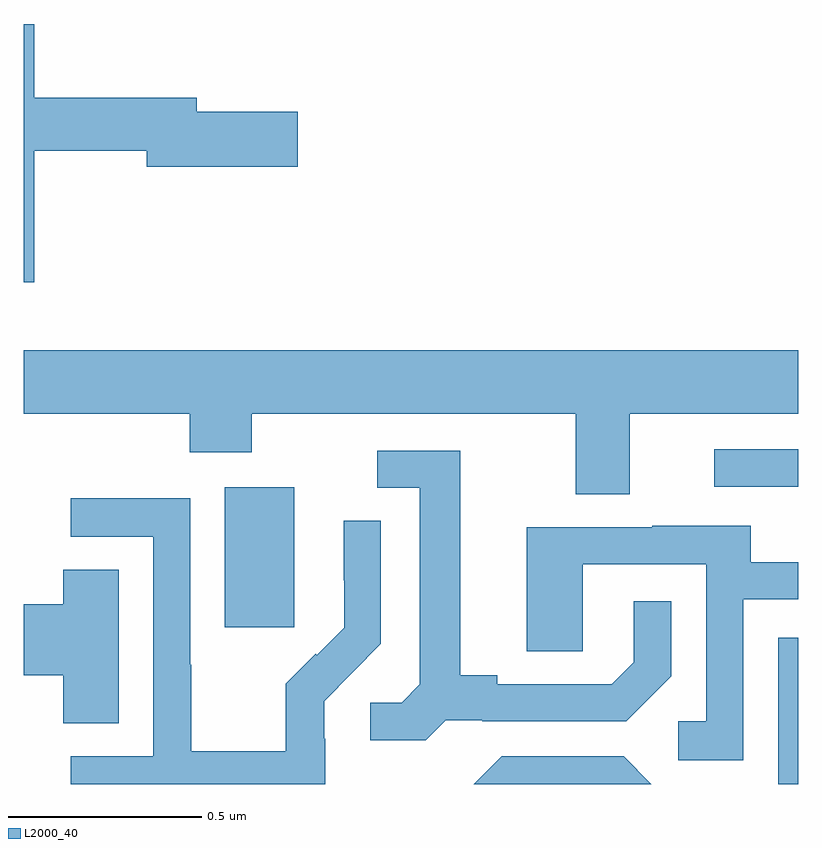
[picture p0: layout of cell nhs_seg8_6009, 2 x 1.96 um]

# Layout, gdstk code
import gdstk
lib = gdstk.Library(unit=1e-6, precision=1e-09)
def R(c, l, rs):  # rectangles x0, y0, x1, y1
    for r in rs: c.add(gdstk.rectangle(r[:2], r[2:], *l))
def P(c, l, *ps):  # polygons
    for p in ps: c.add(gdstk.Polygon(p, *l))
L2000_40 = (2000, 40)

nhs_seg8_6009 = lib.new_cell('nhs_seg8_6009')
R(nhs_seg8_6009, L2000_40, [(192.948,1092.9,193,1093.278), (191.519,1093.305,191.698,1093.666), (192.783,1093.668,193,1093.764)])
P(nhs_seg8_6009, L2000_40, [(191.027,1094.536),(191.318,1094.536),(191.318,1094.494),(191.707,1094.494),(191.707,1094.636),(191.446,1094.636),(191.446,1094.672),(191.027,1094.672),(191.027,1094.863),(191,1094.863),(191,1094.196),(191.027,1094.196)],
  [(192.565,1093.856),(193,1093.856),(193,1094.02),(191,1094.02),(191,1093.856),(191.429,1093.856),(191.429,1093.757),(191.589,1093.757),(191.589,1093.856),(192.425,1093.856),(192.425,1093.648),(192.565,1093.648)],
  [(192.09,1093.065),(192.184,1093.065),(192.184,1093.062),(192.556,1093.062),(192.672,1093.178),(192.672,1093.372),(192.575,1093.372),(192.575,1093.215),(192.518,1093.158),(192.223,1093.158),(192.223,1093.181),(192.127,1093.181),(192.127,1093.761),(191.913,1093.761),(191.913,1093.665),(192.023,1093.665),(192.023,1093.157),(191.976,1093.11),(191.895,1093.11),(191.895,1093.013),(192.038,1093.013)],
  [(191.778,1093.017),(191.776,1093.017),(191.776,1093.114),(191.85,1093.188),(191.849,1093.189),(191.922,1093.262),(191.922,1093.58),(191.826,1093.58),(191.826,1093.426),(191.828,1093.426),(191.828,1093.304),(191.757,1093.233),(191.754,1093.236),(191.677,1093.159),(191.677,1092.985),(191.433,1092.985),(191.433,1093.208),(191.43,1093.208),(191.43,1093.638),(191.121,1093.638),(191.121,1093.539),(191.334,1093.539),(191.334,1092.972),(191.121,1092.972),(191.121,1092.9),(191.778,1092.9)],
  [(192.858,1093.377),(193,1093.377),(193,1093.473),(192.877,1093.473),(192.877,1093.567),(192.623,1093.567),(192.623,1093.563),(192.299,1093.563),(192.299,1093.243),(192.444,1093.243),(192.444,1093.467),(192.762,1093.467),(192.762,1093.062),(192.69,1093.062),(192.69,1092.961),(192.858,1092.961)],
  [(191.245,1093.454),(191.102,1093.454),(191.102,1093.364),(191,1093.364),(191,1093.181),(191.102,1093.181),(191.102,1093.057),(191.245,1093.057)],
  [(192.549,1092.972),(192.234,1092.972),(192.162,1092.9),(192.621,1092.9)])

lib.write_gds('nhs_seg8_6009.gds')
